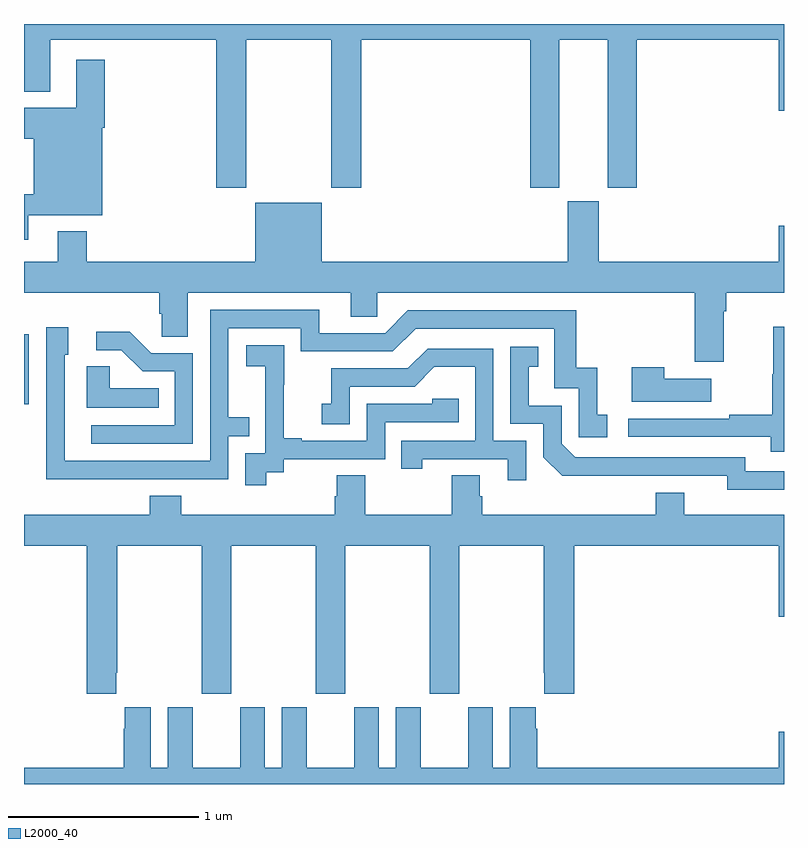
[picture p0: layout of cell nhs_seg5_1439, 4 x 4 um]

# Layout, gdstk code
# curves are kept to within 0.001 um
import gdstk
lib = gdstk.Library(unit=1e-6, precision=1e-09)
def R(c, l, rs):  # rectangles x0, y0, x1, y1
    for r in rs: c.add(gdstk.rectangle(r[:2], r[2:], *l))
def P(c, l, *ps):  # polygons
    for p in ps: c.add(gdstk.Polygon(p, *l))
L2000_40 = (2000, 40)

nhs_seg5_1439 = lib.new_cell('nhs_seg5_1439')
R(nhs_seg5_1439, L2000_40, [(197,898.797,197.025,899.166)])
P(nhs_seg5_1439, L2000_40, [(198.171,900.716),(198.616,900.716),(198.616,899.937),(198.776,899.937),(198.776,900.716),(199.664,900.716),(199.664,899.937),(199.816,899.937),(199.816,900.716),(200.072,900.716),(200.072,899.937),(200.225,899.937),(200.225,900.716),(200.972,900.716),(200.972,900.342),(201,900.342),(201,900.799),(197,900.799),(197,900.443),(197.137,900.443),(197.137,900.716),(198.011,900.716),(198.011,899.937),(198.171,899.937)],
  [(197.023,899.792),(197.413,899.792),(197.413,900.254),(197.426,900.254),(197.426,900.61),(197.276,900.61),(197.276,900.358),(197,900.358),(197,900.194),(197.051,900.194),(197.051,899.902),(197,899.902),(197,899.664),(197.023,899.664)],
  [(200.531,899.022),(200.683,899.022),(200.683,899.288),(200.696,899.288),(200.696,899.384),(201,899.384),(201,899.737),(200.972,899.737),(200.972,899.548),(200.026,899.548),(200.026,899.865),(199.862,899.865),(199.862,899.548),(198.568,899.548),(198.568,899.857),(198.218,899.857),(198.218,899.548),(197.33,899.548),(197.33,899.707),(197.177,899.707),(197.177,899.548),(197,899.548),(197,899.384),(197.711,899.384),(197.711,899.275),(197.724,899.275),(197.724,899.152),(197.863,899.152),(197.863,899.384),(198.719,899.384),(198.719,899.257),(198.858,899.257),(198.858,899.384),(200.531,899.384)],
  [(197.579,898.404),(198.075,898.404),(198.075,898.629),(198.185,898.629),(198.185,898.73),(198.075,898.73),(198.075,899.199),(198.456,899.199),(198.456,899.076),(198.942,899.076),(199.062,899.196),(199.791,899.196),(199.791,898.881),(199.92,898.881),(199.92,898.623),(200.071,898.623),(200.071,898.743),(200.018,898.743),(200.018,898.99),(199.907,898.99),(199.907,899.292),(199.02,899.292),(198.9,899.172),(198.553,899.172),(198.553,899.295),(197.979,899.295),(197.979,898.5),(197.214,898.5),(197.214,899.058),(197.233,899.058),(197.233,899.203),(197.118,899.203),(197.118,898.709),(197.116,898.709),(197.116,898.403)],
  [(201,899.206),(200.944,899.206),(200.944,898.956),(200.937,898.956),(200.937,898.742),(200.713,898.742),(200.713,898.722),(200.181,898.722),(200.181,898.626),(200.929,898.626),(200.929,898.548),(201,898.548)],
  [(197.889,899.067),(197.67,899.067),(197.557,899.18),(197.379,899.18),(197.379,899.082),(197.513,899.082),(197.624,898.971),(197.793,898.971),(197.793,898.686),(197.355,898.686),(197.355,898.59),(197.889,898.59)],
  [(198.274,898.441),(198.366,898.441),(198.366,898.509),(198.9,898.509),(198.9,898.704),(199.289,898.704),(199.289,898.827),(199.149,898.827),(199.149,898.8),(198.804,898.8),(198.804,898.605),(198.463,898.605),(198.463,898.618),(198.368,898.618),(198.368,898.901),(198.369,898.901),(198.369,899.107),(198.171,899.107),(198.171,898.997),(198.269,898.997),(198.269,898.769),(198.27,898.769),(198.27,898.539),(198.165,898.539),(198.165,898.371),(198.274,898.371)],
  [(201,898.446),(200.796,898.446),(200.796,898.518),(199.902,898.518),(199.83,898.59),(199.83,898.791),(199.657,898.791),(199.657,898.995),(199.706,898.995),(199.706,899.101),(199.56,899.101),(199.56,898.695),(199.734,898.695),(199.734,898.518),(199.832,898.421),(200.7,898.422),(200.7,898.349),(201,898.349)],
  [(199.644,898.605),(199.47,898.605),(199.47,899.091),(199.124,899.091),(199.019,898.986),(198.616,898.986),(198.616,898.801),(198.567,898.801),(198.567,898.692),(198.714,898.692),(198.714,898.89),(199.056,898.89),(199.16,898.994),(199.374,898.994),(199.374,898.605),(198.985,898.605),(198.985,898.458),(199.096,898.458),(199.096,898.509),(199.547,898.509),(199.547,898.398),(199.644,898.398)],
  [(197.708,898.882),(197.451,898.882),(197.451,898.997),(197.33,898.997),(197.33,898.778),(197.708,898.778)],
  [(200.617,898.933),(200.369,898.933),(200.369,898.993),(200.198,898.993),(200.198,898.811),(200.617,898.811)],
  [(197.485,897.385),(197.49,897.385),(197.49,898.052),(197.935,898.052),(197.935,897.273),(198.09,897.273),(198.09,898.052),(198.535,898.052),(198.535,897.273),(198.69,897.273),(198.69,898.052),(199.135,898.052),(199.135,897.273),(199.29,897.273),(199.29,898.052),(199.735,898.052),(199.735,897.385),(199.739,897.385),(199.739,897.273),(199.895,897.273),(199.895,898.052),(200.972,898.052),(200.972,897.678),(201,897.678),(201,898.216),(200.476,898.216),(200.476,898.333),(200.324,898.333),(200.324,898.216),(199.412,898.216),(199.412,898.314),(199.399,898.314),(199.399,898.424),(199.252,898.424),(199.252,898.216),(198.795,898.216),(198.795,898.424),(198.647,898.424),(198.647,898.314),(198.635,898.314),(198.635,898.216),(197.828,898.216),(197.828,898.315),(197.663,898.315),(197.663,898.216),(197,898.216),(197,898.052),(197.33,898.052),(197.33,897.273),(197.485,897.273)],
  [(198.356,897.202),(198.356,896.884),(198.268,896.884),(198.268,897.202),(198.137,897.202),(198.137,896.884),(197.887,896.884),(197.887,897.202),(197.756,897.202),(197.756,896.884),(197.668,896.884),(197.668,897.202),(197.531,897.202),(197.531,897.089),(197.525,897.089),(197.525,896.884),(197,896.884),(197,896.799),(201,896.799),(201,897.073),(200.972,897.073),(200.972,896.884),(199.7,896.884),(199.7,897.089),(199.693,897.089),(199.693,897.202),(199.556,897.202),(199.556,896.884),(199.468,896.884),(199.468,897.202),(199.337,897.202),(199.337,896.884),(199.087,896.884),(199.087,897.202),(198.956,897.202),(198.956,896.884),(198.868,896.884),(198.868,897.202),(198.737,897.202),(198.737,896.884),(198.487,896.884),(198.487,897.202)])

lib.write_gds('nhs_seg5_1439.gds')
